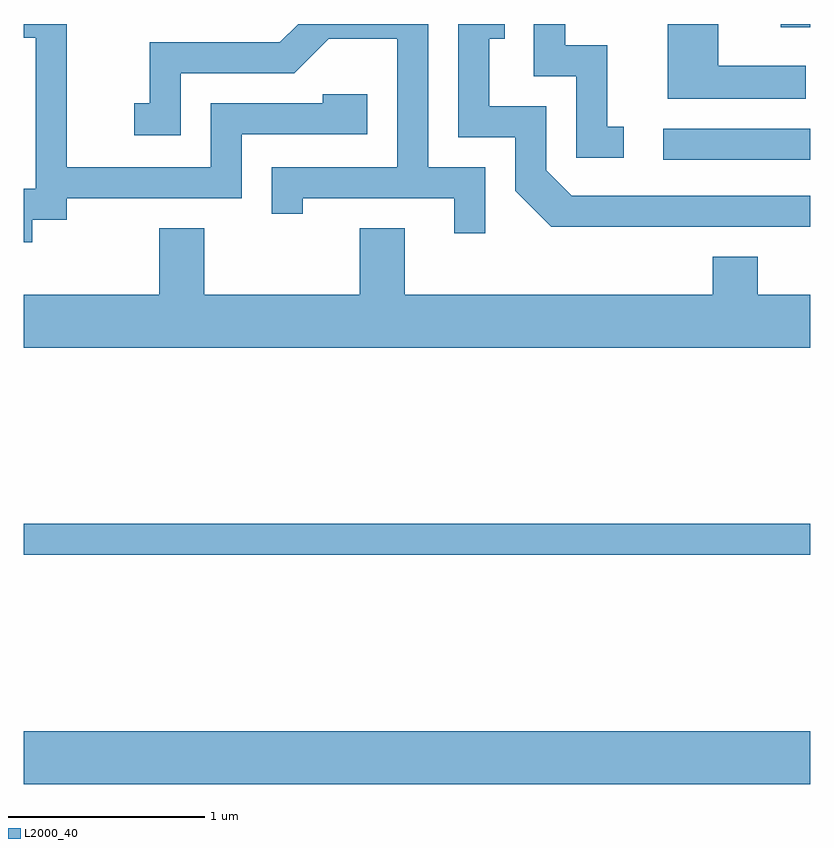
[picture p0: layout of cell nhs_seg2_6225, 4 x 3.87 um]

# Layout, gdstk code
import gdstk
lib = gdstk.Library(unit=1e-6, precision=1e-09)
def R(c, l, rs):  # rectangles x0, y0, x1, y1
    for r in rs: c.add(gdstk.rectangle(r[:2], r[2:], *l))
def P(c, l, *ps):  # polygons
    for p in ps: c.add(gdstk.Polygon(p, *l))
L2000_40 = (2000, 40)

nhs_seg2_6225 = lib.new_cell('nhs_seg2_6225')
R(nhs_seg2_6225, L2000_40, [(369.611,983.936,373.611,984.204), (369.611,985.101,373.611,985.259), (372.863,987.111,373.611,987.269), (373.461,987.786,373.611,987.802)])
P(nhs_seg2_6225, L2000_40, [(373.611,986.929),(372.397,986.929),(372.269,987.057),(372.269,987.384),(371.979,987.384),(371.979,987.726),(372.058,987.726),(372.058,987.802),(371.821,987.802),(371.821,987.226),(372.111,987.226),(372.111,986.954),(372.294,986.771),(373.611,986.771)],
  [(372.663,987.279),(372.579,987.279),(372.579,987.694),(372.364,987.694),(372.364,987.802),(372.206,987.802),(372.206,987.536),(372.421,987.536),(372.421,987.121),(372.663,987.121)],
  [(369.654,986.806),(369.829,986.806),(369.829,986.916),(370.719,986.916),(370.719,987.241),(371.359,987.241),(371.359,987.444),(371.131,987.444),(371.131,987.399),(370.561,987.399),(370.561,987.074),(369.829,987.074),(369.829,987.802),(369.611,987.802),(369.611,987.731),(369.671,987.731),(369.671,986.964),(369.611,986.964),(369.611,986.693),(369.654,986.693)],
  [(371.959,987.074),(371.669,987.074),(371.669,987.802),(371.007,987.802),(370.914,987.709),(370.251,987.709),(370.251,987.399),(370.173,987.399),(370.173,987.236),(370.409,987.236),(370.409,987.551),(370.987,987.551),(371.162,987.726),(371.511,987.726),(371.511,987.074),(370.871,987.074),(370.871,986.838),(371.029,986.838),(371.029,986.916),(371.801,986.916),(371.801,986.738),(371.959,986.738)],
  [(373.588,987.589),(373.144,987.589),(373.144,987.802),(372.886,987.802),(372.886,987.421),(373.588,987.421)],
  [(373.611,986.424),(373.344,986.424),(373.344,986.619),(373.116,986.619),(373.116,986.424),(371.549,986.424),(371.549,986.764),(371.321,986.764),(371.321,986.424),(370.529,986.424),(370.529,986.764),(370.301,986.764),(370.301,986.424),(369.611,986.424),(369.611,986.156),(373.611,986.156)])

lib.write_gds('nhs_seg2_6225.gds')
